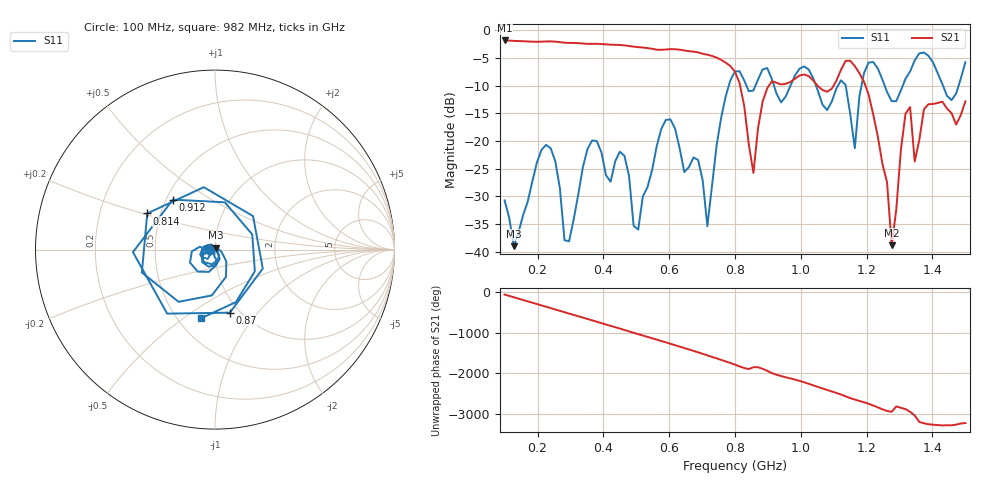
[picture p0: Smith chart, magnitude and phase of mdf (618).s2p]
! NanoVNA-App
! Date: 2025-09-25 15:43:13
! Start: 100MHz Stop: 1,5GHz Points: 101
! S-Parameter data: F S11 S21 S12 S22
# Hz S RI R 50
!  Frequency  S11_Real  S11_Imag  S21_Real  S21_Imag  S12_Real  S12_Imag  S22_Real  S22_Imag
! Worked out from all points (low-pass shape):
!   101 points, 100 MHz to 1.5 GHz, reference 50 ohm
!   highest |S21| = -1.80 dB at 100 MHz (marker M1); lowest = -38.8 dB at 1.276 GHz (marker M2)
!   |S21| within 3 dB of the highest: start of sweep to 739.5 MHz
!   lowest |S11| = -39.0 dB at 128 MHz (marker M3), VSWR 1.02, Z = 50.3 + j1.08 ohm
!   |S11| at or under -10 dB: start of sweep to 781.1 MHz; 918.5 MHz to 968.3 MHz (49.75 MHz wide, 5.27 % of centre); 1.046 GHz to 1.113 GHz (66.5 MHz wide, 6.16 % of centre)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
!   S12 and S22 are empty: the file has one direction only
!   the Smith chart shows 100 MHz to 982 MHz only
!   S11 on the Smith chart (normalised r, x): 100 MHz: 0.94, -0.01; 814 MHz: 0.42, +0.21; 870 MHz: 0.90, -0.73; 912 MHz: 0.54, +0.35; 982 MHz: 0.65, -0.58
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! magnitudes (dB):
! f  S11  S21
! 100 MHz  -30.7  -1.8
! 128 MHz  -39.0  -1.9
! 212 MHz  -21.6  -2.0
! 282 MHz  -37.9  -2.2
! 338 MHz  -24.7  -2.4
! 464 MHz  -22.7  -2.7
! 506 MHz  -36.0  -3.0
! 576 MHz  -17.8  -3.5
! 716 MHz  -35.4  -4.4
! 800 MHz  -7.4  -7.4
! 814 MHz  -7.4  -9.5
! 856 MHz  -10.9  -25.8
! 870 MHz  -8.9  -17.6
! 912 MHz  -8.8  -9.2
! 982 MHz  -8.2  -8.7
! 1.038 GHz  -8.7  -9.1
! 1.164 GHz  -21.3  -6.4
! 1.192 GHz  -7.7  -9.3
! 1.276 GHz  -12.8  -38.8
! 1.318 GHz  -8.7  -15.1
! 1.346 GHz  -5.4  -23.7
! 1.5 GHz  -5.7  -12.8
